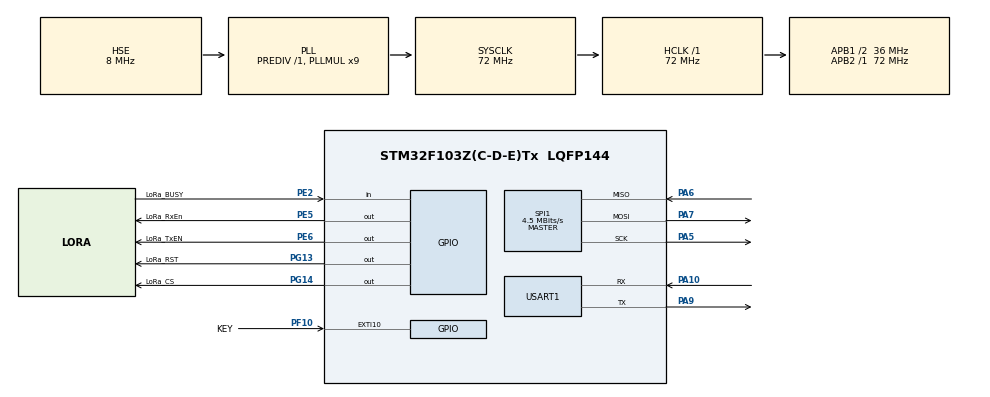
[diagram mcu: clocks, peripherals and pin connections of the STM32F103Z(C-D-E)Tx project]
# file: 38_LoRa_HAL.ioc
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Mcu.Family=STM32F1
Mcu.Name=STM32F103Z(C-D-E)Tx
Mcu.Package=LQFP144
NVIC.EXTI15_10_IRQn=true\:2\:0\:true\:false\:true\:true\:true\:true
NVIC.PriorityGroup=NVIC_PRIORITYGROUP_4
OSC_IN.Mode=HSE-External-Oscillator
OSC_IN.Signal=RCC_OSC_IN
OSC_OUT.Mode=HSE-External-Oscillator
OSC_OUT.Signal=RCC_OSC_OUT
PA10.Mode=Asynchronous
PA10.Signal=USART1_RX
PA13.Mode=Serial_Wire
PA13.Signal=SYS_JTMS-SWDIO
PA14.Mode=Serial_Wire
PA14.Signal=SYS_JTCK-SWCLK
PA5.Mode=Full_Duplex_Master
PA5.Signal=SPI1_SCK
PA6.Mode=Full_Duplex_Master
PA6.Signal=SPI1_MISO
PA7.Mode=Full_Duplex_Master
PA7.Signal=SPI1_MOSI
PA9.Mode=Asynchronous
PA9.Signal=USART1_TX
PC14-OSC32_IN.Mode=LSE-External-Oscillator
PC14-OSC32_IN.Signal=RCC_OSC32_IN
PC15-OSC32_OUT.Mode=LSE-External-Oscillator
PC15-OSC32_OUT.Signal=RCC_OSC32_OUT
PE2.GPIO_Label=LoRa_BUSY
PE2.Signal=GPIO_Input
PE5.GPIO_Label=LoRa_RxEn
PE5.Signal=GPIO_Output
PE6.GPIO_Label=LoRa_TxEN
PE6.Signal=GPIO_Output
PF10.GPIO_Label=KEY
PF10.GPIO_PuPd=GPIO_PULLDOWN
PF10.Signal=GPXTI10
PG13.GPIO_Label=LoRa_RST
PG13.Signal=GPIO_Output
PG14.GPIO_Label=LoRa_CS
PG14.Signal=GPIO_Output
ProjectManager.HeapSize=0x200
ProjectManager.StackSize=0x400
ProjectManager.TargetToolchain=MDK-ARM V5.32
RCC.AHBFreq_Value=72000000
RCC.APB1CLKDivider=RCC_HCLK_DIV2
RCC.APB1Freq_Value=36000000
RCC.APB1TimFreq_Value=72000000
RCC.APB2Freq_Value=72000000
RCC.APB2TimFreq_Value=72000000
RCC.HCLKFreq_Value=72000000
RCC.PLLMUL=RCC_PLL_MUL9
RCC.PLLSourceVirtual=RCC_PLLSOURCE_HSE
RCC.SYSCLKFreq_VALUE=72000000
RCC.SYSCLKSource=RCC_SYSCLKSOURCE_PLLCLK
RCC.USBFreq_Value=72000000
SPI1.BaudRatePrescaler=SPI_BAUDRATEPRESCALER_16
SPI1.CalculateBaudRate=4.5 MBits/s
SPI1.Direction=SPI_DIRECTION_2LINES
SPI1.Mode=SPI_MODE_MASTER
SPI1.VirtualType=VM_MASTER
USART1.VirtualMode=VM_ASYNC
board=custom

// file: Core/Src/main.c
/* USER CODE BEGIN Header */
/**
  ******************************************************************************
  * @file           : main.c
  * @brief          : Main program body
  ******************************************************************************
  * @attention
  *
  * Copyright (c) 2024 STMicroelectronics.
  * All rights reserved.
  *
  * This software is licensed under terms that can be found in the LICENSE file
  * in the root directory of this software component.
  * If no LICENSE file comes with this software, it is provided AS-IS.
  *
  ******************************************************************************
  */
  /* USER CODE END Header */
  /* Includes ------------------------------------------------------------------*/
#include "main.h"
#include "spi.h"
#include "usart.h"
#include "gpio.h"

/* USER CODE BEGIN Includes */
#include "LoRa.h"
#include <string.h>
/* USER CODE END Includes */

/* USER CODE BEGIN PTD */
extern uint8_t Key_State;
/* USER CODE END PTD */

void SystemClock_Config(void);

int main(void)
{

    /* MCU Configuration--------------------------------------------------------*/

    /* Reset of all peripherals, Initializes the Flash interface and the Systick. */
    HAL_Init();

    /* Configure the system clock */
    SystemClock_Config();

    /* Initialize all configured peripherals */
    MX_GPIO_Init();
    MX_SPI1_Init();
    MX_USART1_UART_Init();
    /* USER CODE BEGIN 2 */
    LoRa_Init();
    printf("hello lora\n");
    uint32e_t name = Ebyte_RF.GetName();
    printf("name = %#x\n", name);
    uint8_t count = 0;
    uint8_t msg[128] = { 0 };
    /* USER CODE END 2 */

    /* Infinite loop */
    /* USER CODE BEGIN WHILE */
    while (1)
    {
        /* 每次都要启动 必须被客户周期性调用，否则无法接收到数据  BBYTE 无线模块周期任务*/
        LoRa_Start();
        // HAL_Delay(2000);
        // LoRa_Send("hello", 6);
        if (Key_State)
        {
            Key_State = 0;
            memset(msg, 0, sizeof(msg));
            sprintf((char*)msg, "计数的次数为%d", count++);
            // printf("发送数据：%s\n", msg);
            LoRa_Send(msg, strlen((char*)msg));
        }

        /* USER CODE END WHILE */

    }
}

void SystemClock_Config(void)
{
    RCC_OscInitTypeDef RCC_OscInitStruct = { 0 };
    RCC_ClkInitTypeDef RCC_ClkInitStruct = { 0 };

    /** Initializes the RCC Oscillators according to the specified parameters
    * in the RCC_OscInitTypeDef structure.
    */
    RCC_OscInitStruct.OscillatorType = RCC_OSCILLATORTYPE_HSE;
    RCC_OscInitStruct.HSEState = RCC_HSE_ON;
    RCC_OscInitStruct.HSEPredivValue = RCC_HSE_PREDIV_DIV1;
    RCC_OscInitStruct.HSIState = RCC_HSI_ON;
    RCC_OscInitStruct.PLL.PLLState = RCC_PLL_ON;
    RCC_OscInitStruct.PLL.PLLSource = RCC_PLLSOURCE_HSE;
    RCC_OscInitStruct.PLL.PLLMUL = RCC_PLL_MUL9;
    if (HAL_RCC_OscConfig(&RCC_OscInitStruct) != HAL_OK)
    {
        Error_Handler();
    }

    /** Initializes the CPU, AHB and APB buses clocks
    */
    RCC_ClkInitStruct.ClockType = RCC_CLOCKTYPE_HCLK | RCC_CLOCKTYPE_SYSCLK
        | RCC_CLOCKTYPE_PCLK1 | RCC_CLOCKTYPE_PCLK2;
    RCC_ClkInitStruct.SYSCLKSource = RCC_SYSCLKSOURCE_PLLCLK;
    RCC_ClkInitStruct.AHBCLKDivider = RCC_SYSCLK_DIV1;
    RCC_ClkInitStruct.APB1CLKDivider = RCC_HCLK_DIV2;
    RCC_ClkInitStruct.APB2CLKDivider = RCC_HCLK_DIV1;

    if (HAL_RCC_ClockConfig(&RCC_ClkInitStruct, FLASH_LATENCY_2) != HAL_OK)
    {
        Error_Handler();
    }
}

void Error_Handler(void)
{
    __disable_irq();
    while (1)
    {
    }
}
